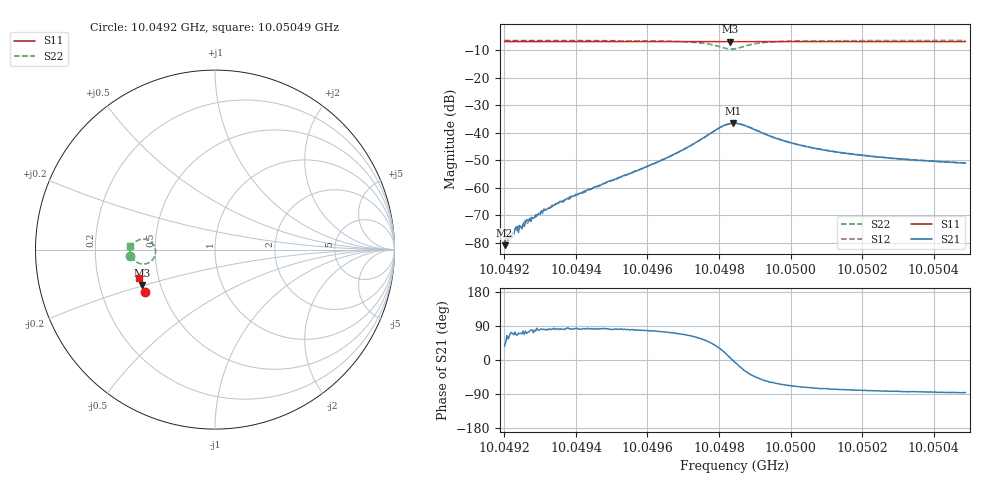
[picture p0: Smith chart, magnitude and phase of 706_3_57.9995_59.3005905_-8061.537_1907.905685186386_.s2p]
#  HZ  S  RI  R  50.00
! Rohde & Schwarz Vector Network Analyzer
! Rohde-Schwarz,ZNB20-2Port,1311601062101988,3.16
! Created: UTC 3/21/2024, 1:21:59 AM
! freq[Hz]  re:S11  im:S11  re:S21  im:S21  re:S12  im:S12  re:S22  im:S22
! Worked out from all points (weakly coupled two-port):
!   401 points, 10.0492 GHz to 10.05049 GHz, reference 50 ohm
!   highest |S21| = -36.52 dB at 10.04984 GHz (marker M1); lowest = -80.9 dB at 10.0492 GHz (marker M2)
!   lowest |S11| = -6.9 dB at 10.04983 GHz (marker M3), VSWR 2.65, Z = 19.8 - j9.87 ohm
!   |S11| at or under -10 dB: nowhere
!   |S22| runs from -9.6 to -6.5 dB; largest |S21 - S12| = 0.0014
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1.0049201e10  -0.3881 -0.2362  7.17e-05 5.38e-05  9.21e-05 8.62e-05  -0.4736 -0.0362
1.004922e10  -0.3888 -0.235  3.8e-05 0.000123  5.71e-05 0.00011  -0.4737 -0.0343
1.004923e10  -0.3892 -0.2346  4.89e-05 0.000168  2.81e-05 0.000179  -0.4737 -0.0335
1.0049236e10  -0.3893 -0.2342  8e-05 0.000179  4.6e-05 0.000161  -0.4737 -0.0329
1.0049252e10  -0.3898 -0.2332  5.24e-05 0.000213  4.2e-05 0.000212  -0.4736 -0.0315
1.0049265e10  -0.3903 -0.2325  7.75e-05 0.000252  7.29e-06 0.000227  -0.4736 -0.0303
1.0049316e10  -0.3919 -0.2295  6.48e-05 0.000395  2.18e-05 0.000402  -0.4735 -0.0255
1.0049416e10  -0.3952 -0.2236  0.000123 0.000801  5.97e-05 0.0008  -0.4728 -0.015
1.0049632e10  -0.4014 -0.2108  0.000782 0.00293  0.000576 0.00297  -0.4633 0.0187
1.0049716e10  -0.4038 -0.2056  0.00239 0.00509  0.0021 0.00523  -0.4444 0.0425
1.004978e10  -0.4051 -0.2014  0.00737 0.00704  0.00684 0.00739  -0.3941 0.058
1.0049806e10  -0.4052 -0.2  0.0114 0.00583  0.011 0.00665  -0.3573 0.0435
1.0049832e10  -0.4056 -0.1988  0.0147 0.00136  0.0145 0.0025  -0.3314 -0.00169
1.0049838e10  -0.4057 -0.1986  0.0149 -0.000161  0.0148 0.0011  -0.3308 -0.0164
1.0049845e10  -0.406 -0.1984  0.0148 -0.00165  0.0149 -0.000539  -0.3336 -0.0305
1.0049877e10  -0.407 -0.197  0.0113 -0.0068  0.0117 -0.00604  -0.3746 -0.0755
1.0049925e10  -0.4089 -0.1944  0.00564 -0.0078  0.00637 -0.00742  -0.4297 -0.0738
1.004999e10  -0.4109 -0.1905  0.00274 -0.00633  0.00318 -0.00619  -0.4574 -0.0514
1.005006e10  -0.4128 -0.1862  0.00151 -0.00511  0.00181 -0.00505  -0.4675 -0.033
1.005016e10  -0.4155 -0.1799  0.000829 -0.00408  0.00108 -0.00409  -0.4725 -0.0156
1.0050276e10  -0.4184 -0.1729  0.000445 -0.00348  0.000677 -0.00343  -0.4744 -0.00111
1.0050489e10  -0.4232 -0.1598  0.000194 -0.00282  0.000314 -0.00281  -0.475 0.0192
